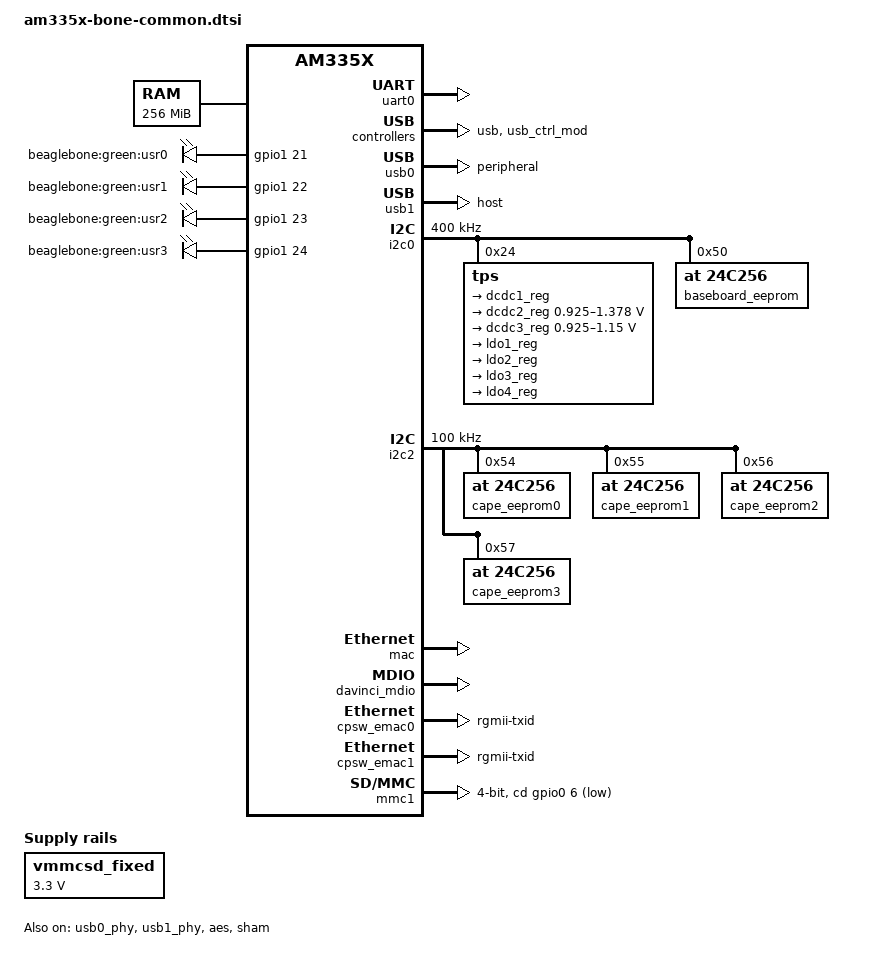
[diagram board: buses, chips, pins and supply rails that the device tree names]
/*
 * Copyright (C) 2012 Texas Instruments Incorporated - http://www.ti.com/
 *
 * This program is free software; you can redistribute it and/or modify
 * it under the terms of the GNU General Public License version 2 as
 * published by the Free Software Foundation.
 */

/ {
	cpus {
		cpu@0 {
			cpu0-supply = <&dcdc2_reg>;
		};
	};

	memory {
		device_type = "memory";
		reg = <0x80000000 0x10000000>; /* 256 MB */
	};

	leds {
		pinctrl-names = "default";
		pinctrl-0 = <&user_leds_s0>;

		compatible = "gpio-leds";

		led@2 {
			label = "beaglebone:green:usr0";
			gpios = <&gpio1 21 GPIO_ACTIVE_HIGH>;
			linux,default-trigger = "heartbeat";
			default-state = "off";
		};

		led@3 {
			label = "beaglebone:green:usr1";
			gpios = <&gpio1 22 GPIO_ACTIVE_HIGH>;
			linux,default-trigger = "mmc0";
			default-state = "off";
		};

		led@4 {
			label = "beaglebone:green:usr2";
			gpios = <&gpio1 23 GPIO_ACTIVE_HIGH>;
			linux,default-trigger = "cpu0";
			default-state = "off";
		};

		led@5 {
			label = "beaglebone:green:usr3";
			gpios = <&gpio1 24 GPIO_ACTIVE_HIGH>;
			linux,default-trigger = "mmc1";
			default-state = "off";
		};
	};

	vmmcsd_fixed: fixedregulator@0 {
		compatible = "regulator-fixed";
		regulator-name = "vmmcsd_fixed";
		regulator-min-microvolt = <3300000>;
		regulator-max-microvolt = <3300000>;
	};
};

&am33xx_pinmux {
	user_leds_s0: user_leds_s0 {
		pinctrl-single,pins = <
			0x54 (PIN_OUTPUT_PULLDOWN | MUX_MODE7)	/* gpmc_a5.gpio1_21 */
			0x58 (PIN_OUTPUT_PULLUP | MUX_MODE7)	/* gpmc_a6.gpio1_22 */
			0x5c (PIN_OUTPUT_PULLDOWN | MUX_MODE7)	/* gpmc_a7.gpio1_23 */
			0x60 (PIN_OUTPUT_PULLUP | MUX_MODE7)	/* gpmc_a8.gpio1_24 */
		>;
	};

	i2c0_pins: pinmux_i2c0_pins {
		pinctrl-single,pins = <
			0x188 (PIN_INPUT_PULLUP | MUX_MODE0)	/* i2c0_sda.i2c0_sda */
			0x18c (PIN_INPUT_PULLUP | MUX_MODE0)	/* i2c0_scl.i2c0_scl */
		>;
	};

	i2c2_pins: pinmux_i2c2_pins {
		pinctrl-single,pins = <
			0x178 (PIN_INPUT_PULLUP | MUX_MODE3)	/* uart1_ctsn.i2c2_sda */
			0x17c (PIN_INPUT_PULLUP | MUX_MODE3)	/* uart1_rtsn.i2c2_scl */
		>;
	};

	// 	i2c2_pins: pinmux_i2c2_pins {
	// 	pinctrl-single,pins = <
	// 		0x150 (PIN_INPUT_PULLUP | MUX_MODE2)	/* uart1_ctsn.i2c2_sda */
	// 		0x154 (PIN_INPUT_PULLUP | MUX_MODE2)	/* uart1_rtsn.i2c2_scl */
	// 	>;
	// };
	
	uart0_pins: pinmux_uart0_pins {
		pinctrl-single,pins = <
			0x170 (PIN_INPUT_PULLUP | MUX_MODE0)	/* uart0_rxd.uart0_rxd */
			0x174 (PIN_OUTPUT_PULLDOWN | MUX_MODE0)	/* uart0_txd.uart0_txd */
		>;
	};

	// cpsw_default: cpsw_default {
	// 		pinctrl-single,pins = <
	// 			/* Slave 1 */
	// 			0x114 (PIN_OUTPUT_PULLDOWN | MUX_MODE2)	/* mii1_txen.rgmii1_tctl */
	// 			0x118 (PIN_INPUT_PULLDOWN | MUX_MODE2)	/* mii1_rxdv.rgmii1_rctl */
	// 			0x11c (PIN_OUTPUT_PULLDOWN | MUX_MODE2)	/* mii1_txd3.rgmii1_td3 */
	// 			0x120 (PIN_OUTPUT_PULLDOWN | MUX_MODE2)	/* mii1_txd2.rgmii1_td2 */
	// 			0x124 (PIN_OUTPUT_PULLDOWN | MUX_MODE2)	/* mii1_txd1.rgmii1_td1 */
	// 			0x128 (PIN_OUTPUT_PULLDOWN | MUX_MODE2)	/* mii1_txd0.rgmii1_td0 */
	// 			0x12c (PIN_OUTPUT_PULLDOWN | MUX_MODE2)	/* mii1_txclk.rgmii1_tclk */
	// 			0x130 (PIN_INPUT_PULLDOWN | MUX_MODE2)	/* mii1_rxclk.rgmii1_rclk */
	// 			0x134 (PIN_INPUT_PULLDOWN | MUX_MODE2)	/* mii1_rxd3.rgmii1_rd3 */
	// 			0x138 (PIN_INPUT_PULLDOWN | MUX_MODE2)	/* mii1_rxd2.rgmii1_rd2 */
	// 			0x13c (PIN_INPUT_PULLDOWN | MUX_MODE2)	/* mii1_rxd1.rgmii1_rd1 */
	// 			0x140 (PIN_INPUT_PULLDOWN | MUX_MODE2)	/* mii1_rxd0.rgmii1_rd0 */
	// 		>;
	// 	};

	// 	cpsw_sleep: cpsw_sleep {
	// 		pinctrl-single,pins = <
	// 			/* Slave 1 reset value */
	// 			0x114 (PIN_INPUT_PULLDOWN | MUX_MODE7)
	// 			0x118 (PIN_INPUT_PULLDOWN | MUX_MODE7)
	// 			0x11c (PIN_INPUT_PULLDOWN | MUX_MODE7)
	// 			0x120 (PIN_INPUT_PULLDOWN | MUX_MODE7)
	// 			0x124 (PIN_INPUT_PULLDOWN | MUX_MODE7)
	// 			0x128 (PIN_INPUT_PULLDOWN | MUX_MODE7)
	// 			0x12c (PIN_INPUT_PULLDOWN | MUX_MODE7)
	// 			0x130 (PIN_INPUT_PULLDOWN | MUX_MODE7)
	// 			0x134 (PIN_INPUT_PULLDOWN | MUX_MODE7)
	// 			0x138 (PIN_INPUT_PULLDOWN | MUX_MODE7)
	// 			0x13c (PIN_INPUT_PULLDOWN | MUX_MODE7)
	// 			0x140 (PIN_INPUT_PULLDOWN | MUX_MODE7)
	// 		>;
	// 	};


		cpsw_default: cpsw_default {
		pinctrl-single,pins = <
			/* Slave 1 */
			0x114 (PIN_OUTPUT_PULLDOWN | MUX_MODE2)	/* mii1_txen.rgmii1_tctl */
			0x118 (PIN_INPUT_PULLDOWN | MUX_MODE2)	/* mii1_rxdv.rgmii1_rctl */
			0x11c (PIN_OUTPUT_PULLDOWN | MUX_MODE2)	/* mii1_txd3.rgmii1_td3 */
			0x120 (PIN_OUTPUT_PULLDOWN | MUX_MODE2)	/* mii1_txd2.rgmii1_td2 */
			0x124 (PIN_OUTPUT_PULLDOWN | MUX_MODE2)	/* mii1_txd1.rgmii1_td1 */
			0x128 (PIN_OUTPUT_PULLDOWN | MUX_MODE2)	/* mii1_txd0.rgmii1_td0 */
			0x12c (PIN_OUTPUT_PULLDOWN | MUX_MODE2)	/* mii1_txclk.rgmii1_tclk */
			0x130 (PIN_INPUT_PULLDOWN | MUX_MODE2)	/* mii1_rxclk.rgmii1_rclk */
			0x134 (PIN_INPUT_PULLDOWN | MUX_MODE2)	/* mii1_rxd3.rgmii1_rd3 */
			0x138 (PIN_INPUT_PULLDOWN | MUX_MODE2)	/* mii1_rxd2.rgmii1_rd2 */
			0x13c (PIN_INPUT_PULLDOWN | MUX_MODE2)	/* mii1_rxd1.rgmii1_rd1 */
			0x140 (PIN_INPUT_PULLDOWN | MUX_MODE2)	/* mii1_rxd0.rgmii1_rd0 */
		/* Slave 2 */
	 		0x40  (MUX_MODE2 | PIN_OUTPUT_PULLDOWN)  /* gpmc_a0.rgmii2_tctl */
			0x44  (MUX_MODE2 | PIN_INPUT_PULLDOWN) /* gpmc_a1.rgmii2_rctl */
			0x48  (MUX_MODE2 | PIN_OUTPUT_PULLDOWN) /* gpmc_a2.rgmii2_td3 */
			0x4c  (MUX_MODE2 | PIN_OUTPUT_PULLDOWN) /* gpmc_a3.rgmii2_td2 */
			0x50  (MUX_MODE2 | PIN_OUTPUT_PULLDOWN) /* gpmc_a4.rgmii2_td1 */
			0x54  (MUX_MODE2 | PIN_OUTPUT_PULLDOWN) /* gpmc_a5.rgmii2_td0 */
			0x58  (MUX_MODE2 | PIN_OUTPUT_PULLDOWN) /* gpmc_a6.rgmii2_tclk */
			0x5c  (MUX_MODE2 | PIN_INPUT_PULLDOWN) /* gpmc_a7.rgmii2_rclk */
			0x60  (MUX_MODE2 | PIN_INPUT_PULLDOWN) /* gpmc_a8.rgmii2_rd3 */
			0x64  (MUX_MODE2 | PIN_INPUT_PULLDOWN) /* gpmc_a9.rgmii2_rd2 */
			0x68  (MUX_MODE2 | PIN_INPUT_PULLDOWN) /* gpmc_a10.rgmii2_rd1 */
			0x6c  (MUX_MODE2 | PIN_INPUT_PULLDOWN) /* gpmc_a11.rgmii2_rd0 */

		>;
	};

	cpsw_sleep: cpsw_sleep {
		pinctrl-single,pins = <
			/* Slave 1 reset value */
			0x114 (PIN_INPUT_PULLDOWN | MUX_MODE7)
			0x118 (PIN_INPUT_PULLDOWN | MUX_MODE7)
			0x11c (PIN_INPUT_PULLDOWN | MUX_MODE7)
			0x120 (PIN_INPUT_PULLDOWN | MUX_MODE7)
			0x124 (PIN_INPUT_PULLDOWN | MUX_MODE7)
			0x128 (PIN_INPUT_PULLDOWN | MUX_MODE7)
			0x12c (PIN_INPUT_PULLDOWN | MUX_MODE7)
			0x130 (PIN_INPUT_PULLDOWN | MUX_MODE7)
			0x134 (PIN_INPUT_PULLDOWN | MUX_MODE7)
			0x138 (PIN_INPUT_PULLDOWN | MUX_MODE7)
			0x13c (PIN_INPUT_PULLDOWN | MUX_MODE7)
			0x140 (PIN_INPUT_PULLDOWN | MUX_MODE7)
		/* Slave 2 reset value */
	 		0x40  (PIN_INPUT_PULLDOWN | MUX_MODE7)  /* gpmc_a0.rgmii2_tctl */
			0x44  (PIN_INPUT_PULLDOWN | MUX_MODE7) /* gpmc_a1.rgmii2_rctl */
			0x48  (PIN_INPUT_PULLDOWN | MUX_MODE7) /* gpmc_a2.rgmii2_td3 */
			0x4c  (PIN_INPUT_PULLDOWN | MUX_MODE7) /* gpmc_a3.rgmii2_td2 */
			0x50  (PIN_INPUT_PULLDOWN | MUX_MODE7) /* gpmc_a4.rgmii2_td1 */
			0x54  (PIN_INPUT_PULLDOWN | MUX_MODE7) /* gpmc_a5.rgmii2_td0 */
			0x58  (PIN_INPUT_PULLDOWN | MUX_MODE7) /* gpmc_a6.rgmii2_tclk */
			0x5c  (PIN_INPUT_PULLDOWN | MUX_MODE7) /* gpmc_a7.rgmii2_rclk */
			0x60  (PIN_INPUT_PULLDOWN | MUX_MODE7) /* gpmc_a8.rgmii2_rd3 */
			0x64  (PIN_INPUT_PULLDOWN | MUX_MODE7) /* gpmc_a9.rgmii2_rd2 */
			0x68  (PIN_INPUT_PULLDOWN | MUX_MODE7) /* gpmc_a10.rgmii2_rd1 */
			0x6c  (PIN_INPUT_PULLDOWN | MUX_MODE7) /* gpmc_a11.rgmii2_rd0 */
		>;
	};


	davinci_mdio_default: davinci_mdio_default {
		pinctrl-single,pins = <
			/* MDIO */
			0x148 (PIN_INPUT_PULLUP | SLEWCTRL_FAST | MUX_MODE0)	/* mdio_data.mdio_data */
			0x14c (PIN_OUTPUT_PULLUP | MUX_MODE0)			/* mdio_clk.mdio_clk */
		>;
	};

	davinci_mdio_sleep: davinci_mdio_sleep {
		pinctrl-single,pins = <
			/* MDIO reset value */
			0x148 (PIN_INPUT_PULLDOWN | MUX_MODE7)
			0x14c (PIN_INPUT_PULLDOWN | MUX_MODE7)
		>;
	};

	mmc1_pins_default: pinmux_mmc1_pins {
		pinctrl-single,pins = <
			0x0F0 (PIN_INPUT_PULLUP | MUX_MODE0)	/* mmc0_dat3.mmc0_dat3 */
			0x0F4 (PIN_INPUT_PULLUP | MUX_MODE0)	/* mmc0_dat2.mmc0_dat2 */
			0x0F8 (PIN_INPUT_PULLUP | MUX_MODE0)	/* mmc0_dat1.mmc0_dat1 */
			0x0FC (PIN_INPUT_PULLUP | MUX_MODE0)	/* mmc0_dat0.mmc0_dat0 */
			0x100 (PIN_INPUT_PULLUP | MUX_MODE0)	/* mmc0_clk.mmc0_clk */
			0x104 (PIN_INPUT_PULLUP | MUX_MODE0)	/* mmc0_cmd.mmc0_cmd */
			0x160 (PIN_INPUT | MUX_MODE7)		/* spi0_cs1.gpio0_6 */
		>;
	};

	mmc1_pins_sleep: pinmux_mmc1_pins_sleep {
		pinctrl-single,pins = <
			0x0F0 (PIN_INPUT_PULLDOWN | MUX_MODE7)
			0x0F4 (PIN_INPUT_PULLDOWN | MUX_MODE7)
			0x0F8 (PIN_INPUT_PULLDOWN | MUX_MODE7)
			0x0FC (PIN_INPUT_PULLDOWN | MUX_MODE7)
			0x100 (PIN_INPUT_PULLDOWN | MUX_MODE7)
			0x104 (PIN_INPUT_PULLDOWN | MUX_MODE7)
			0x160 (PIN_INPUT_PULLDOWN | MUX_MODE7)
		>;
	};

	emmc_pins: pinmux_emmc_pins {
		pinctrl-single,pins = <
			0x80 (PIN_INPUT_PULLUP | MUX_MODE2) /* gpmc_csn1.mmc1_clk */
			0x84 (PIN_INPUT_PULLUP | MUX_MODE2) /* gpmc_csn2.mmc1_cmd */
			0x00 (PIN_INPUT_PULLUP | MUX_MODE1) /* gpmc_ad0.mmc1_dat0 */
			0x04 (PIN_INPUT_PULLUP | MUX_MODE1) /* gpmc_ad1.mmc1_dat1 */
			0x08 (PIN_INPUT_PULLUP | MUX_MODE1) /* gpmc_ad2.mmc1_dat2 */
			0x0c (PIN_INPUT_PULLUP | MUX_MODE1) /* gpmc_ad3.mmc1_dat3 */
			0x10 (PIN_INPUT_PULLUP | MUX_MODE1) /* gpmc_ad4.mmc1_dat4 */
			0x14 (PIN_INPUT_PULLUP | MUX_MODE1) /* gpmc_ad5.mmc1_dat5 */
			0x18 (PIN_INPUT_PULLUP | MUX_MODE1) /* gpmc_ad6.mmc1_dat6 */
			0x1c (PIN_INPUT_PULLUP | MUX_MODE1) /* gpmc_ad7.mmc1_dat7 */
		>;
	};
};

&uart0 {
	pinctrl-names = "default";
	pinctrl-0 = <&uart0_pins>;

	status = "okay";
};

&usb {
	status = "okay";
};

&usb_ctrl_mod {
	status = "okay";
};

&usb0_phy {
	status = "okay";
};

&usb1_phy {
	status = "okay";
};

&usb0 {
	status = "okay";
	dr_mode = "peripheral";
};

&usb1 {
	status = "okay";
	dr_mode = "host";
};

&cppi41dma  {
	status = "okay";
};

&i2c0 {
	pinctrl-names = "default";
	pinctrl-0 = <&i2c0_pins>;

	status = "okay";
	clock-frequency = <400000>;

	tps: tps@24 {
		reg = <0x24>;
	};

	baseboard_eeprom: baseboard_eeprom@50 {
		compatible = "at,24c256";
		reg = <0x50>;

		#address-cells = <1>;
		#size-cells = <1>;
		baseboard_data: baseboard_data@0 {
			reg = <0 0x100>;
		};
	};
};

&i2c2 {
	pinctrl-names = "default";
	pinctrl-0 = <&i2c2_pins>;

	status = "okay";
	clock-frequency = <100000>;

	cape_eeprom0: cape_eeprom0@54 {
		compatible = "at,24c256";
		reg = <0x54>;
		#address-cells = <1>;
		#size-cells = <1>;
		cape0_data: cape_data@0 {
			reg = <0 0x100>;
		};
	};

	cape_eeprom1: cape_eeprom1@55 {
		compatible = "at,24c256";
		reg = <0x55>;
		#address-cells = <1>;
		#size-cells = <1>;
		cape1_data: cape_data@0 {
			reg = <0 0x100>;
		};
	};

	cape_eeprom2: cape_eeprom2@56 {
		compatible = "at,24c256";
		reg = <0x56>;
		#address-cells = <1>;
		#size-cells = <1>;
		cape2_data: cape_data@0 {
			reg = <0 0x100>;
		};
	};

	cape_eeprom3: cape_eeprom3@57 {
		compatible = "at,24c256";
		reg = <0x57>;
		#address-cells = <1>;
		#size-cells = <1>;
		cape3_data: cape_data@0 {
			reg = <0 0x100>;
		};
	};
};


/include/ "tps65217.dtsi"

&tps {
	/*
	 * Configure pmic to enter OFF-state instead of SLEEP-state ("RTC-only
	 * mode") at poweroff.  Most BeagleBone versions do not support RTC-only
	 * mode and risk hardware damage if this mode is entered.
	 *
	 * For details, see linux-omap mailing list May 2015 thread
	 *	[PATCH] ARM: dts: am335x-bone* enable pmic-shutdown-controller
	 * In particular, messages:
	 *	http://www.spinics.net/lists/linux-omap/msg118585.html
	 *	http://www.spinics.net/lists/linux-omap/msg118615.html
	 *
	 * You can override this later with
	 *	&tps {  /delete-property/ ti,pmic-shutdown-controller;  }
	 * if you want to use RTC-only mode and made sure you are not affected
	 * by the hardware problems. (Tip: double-check by performing a current
	 * measurement after shutdown: it should be less than 1 mA.)
	 */
	ti,pmic-shutdown-controller;

	interrupt-parent = <&intc>;
	interrupts = <7>;	/* NNMI */

	regulators {
		dcdc1_reg: regulator@0 {
			regulator-name = "vdds_dpr";
			regulator-always-on;
		};

		dcdc2_reg: regulator@1 {
			/* VDD_MPU voltage limits 0.95V - 1.325V with +/-4% tolerance */
			regulator-name = "vdd_mpu";
			regulator-min-microvolt = <925000>;
			regulator-max-microvolt = <1378000>;
			regulator-boot-on;
			regulator-always-on;
		};

		dcdc3_reg: regulator@2 {
			/* VDD_CORE voltage limits 0.95V - 1.1V with +/-4% tolerance */
			regulator-name = "vdd_core";
			regulator-min-microvolt = <925000>;
			regulator-max-microvolt = <1150000>;
			regulator-boot-on;
			regulator-always-on;
		};

		ldo1_reg: regulator@3 {
			regulator-name = "vio,vrtc,vdds";
			regulator-always-on;
		};

		ldo2_reg: regulator@4 {
			regulator-name = "vdd_3v3aux";
			regulator-always-on;
		};

		ldo3_reg: regulator@5 {
			regulator-name = "vdd_1v8";
			regulator-always-on;
		};

		ldo4_reg: regulator@6 {
			regulator-name = "vdd_3v3a";
			regulator-always-on;
		};
	};
};



// &cpsw_emac0 {
// 	phy_id = <&davinci_mdio>, <0>;
// 	phy-mode = "rgmii-txid";
// 	// dual_emac_res_vlan=<1>;
// 	fixed-link {
//      	speed = <100>;
//      	full-duplex;
//      };
// };

// &cpsw_emac1 {
//  	phy_id = <&davinci_mdio>, <1>;
//  	phy-mode = "rgmii-txid";
//  	// dual_emac_res_vlan=<2>;
//  	//fixed-link {
//         //	speed = <1000>;
//         // 	full-duplex;
//         // };
//  };


// &mac {
// 	pinctrl-names = "default", "sleep";
// 	pinctrl-0 = <&cpsw_default>;
// 	pinctrl-1 = <&cpsw_sleep>;
// 	slaves = <2>;
// 	dual_emac = <1>;
// 	status = "okay";
// };


// &cpsw_emac0 {
// 	phy_id = <&davinci_mdio>, <0>;
// 	phy-mode = "rgmii-rxid";
// 	dual_emac_res_vlan=<1>;
// 	fixed-link {
//     	speed = <1000>;
//     	full-duplex;
//     };
// };
// &cpsw_emac1 {
// 	phy-mode = "rgmii-rxid";
// 	dual_emac_res_vlan=<2>;
// 	fixed-link {
//     	speed = <1000>;
//     	full-duplex;
//     };
// };
// &mac {
// 	pinctrl-names = "default", "sleep";
// 	pinctrl-0 = <&cpsw_default>;
// 	dual_emac = <1>;
// 	pinctrl-1 = <&cpsw_sleep>;
// 	slaves = <2>;
// 	status = "okay";
// };



// &davinci_mdio {
// 	pinctrl-names = "default", "sleep";
// 	pinctrl-0 = <&davinci_mdio_default>;
// 	pinctrl-1 = <&davinci_mdio_sleep>;
// 	status = "okay";
// };






&gpio0 {
       status="okay";
       ti,no-reset-on-init;
    };
&mac {
	pinctrl-names = "default", "sleep";
	pinctrl-0 = <&cpsw_default>;
	pinctrl-1 = <&cpsw_sleep>;
	active_slave = <1>;
	status = "okay";
	dual_emac;
};

&davinci_mdio {
	pinctrl-names = "default", "sleep";
	pinctrl-0 = <&davinci_mdio_default>;
	pinctrl-1 = <&davinci_mdio_sleep>;
	status = "okay";
};
&cpsw_emac0 {
	status="okay";
	phy_id = <&davinci_mdio>, <0>;
	phy-mode = "rgmii-txid";
	dual_emac_res_vlan=<1>;
};

&cpsw_emac1 {
	status="okay";
	phy_id = <&davinci_mdio>, <1>;
	phy-mode = "rgmii-txid";
	dual_emac_res_vlan=<2>;

};



&mmc1 {
	status = "okay";
	bus-width = <0x4>;
	pinctrl-names = "default", "sleep";
	pinctrl-0 = <&mmc1_pins_default>;
	pinctrl-1 = <&mmc1_pins_sleep>;
	cd-gpios = <&gpio0 6 GPIO_ACTIVE_HIGH>;
	cd-inverted;
};

&aes {
	status = "okay";
};

&sham {
	status = "okay";
};

&wkup_m3_ipc {
	ti,scale-data-fw = "am335x-bone-scale-data.bin";
};

&rtc {
	system-power-controller;
};

/* the cape manager */
/ {
	bone_capemgr {
		compatible = "ti,bone-capemgr";
		status = "okay";

		nvmem-cells = <&baseboard_data &cape0_data &cape1_data &cape2_data &cape3_data>;
		nvmem-cell-names = "baseboard", "slot0", "slot1", "slot2", "slot3";
		#slots = <4>;

		/* map board revisions to compatible definitions */
		baseboardmaps {
			baseboard_beaglebone: board@0 {
				board-name = "A335BONE";
				compatible-name = "ti,beaglebone";
			};

			baseboard_beaglebone_black: board@1 {
				board-name = "A335BNLT";
				compatible-name = "ti,beaglebone-black";
			};
		};
	};
};
